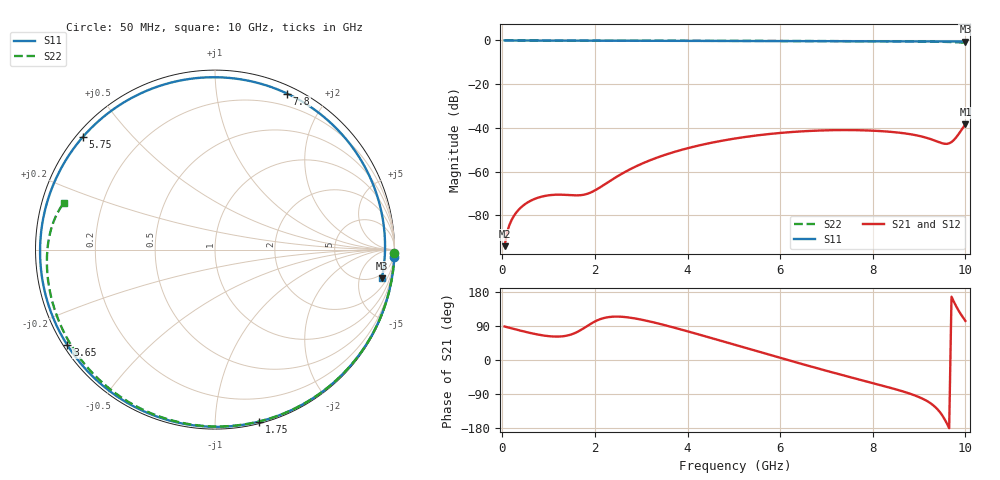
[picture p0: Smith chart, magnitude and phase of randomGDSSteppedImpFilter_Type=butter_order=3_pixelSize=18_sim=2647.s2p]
! freq	dB(S11)	phase(S11)	dB(S12)	phase(S12)
!  dB(S21)	phase(S21)	dB(S22)	phase(S22)
!S-par simulation data
#  GHz  S  DB  R 50
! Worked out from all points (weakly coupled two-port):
!   200 points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, 50 MHz to 10 GHz, reference 50 ohm
!   highest |S21| = -38.33 dB at 10 GHz (marker M1); lowest = -94.1 dB at 50 MHz (marker M2)
!   lowest |S11| = -0.5 dB at 10 GHz (marker M3), VSWR 34.45, Z = 180 - j524 ohm
!   |S11| at or under -10 dB: nowhere
!   |S22| runs from -1.1 to 0.0 dB; largest |S21 - S12| = 0
!   S11 on the Smith chart (normalised r, x): 50 MHz: 0, -51; 1.75 GHz: 0.01, -1.29; 3.65 GHz: 0.01, -0.30; 5.75 GHz: 0.02, +0.37; 7.8 GHz: 0.07, +1.56; 10 GHz: 4, -10
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0.05  -0.00 -2.3  -94.15 88.4  -94.15 88.4  -0.00 -1.1
0.25  -0.02 -11.2  -80.32 81.9  -80.32 81.9  -0.01 -5.4
0.5  -0.03 -22.3  -74.78 74.3  -74.78 74.3  -0.01 -10.7
0.85  -0.05 -37.7  -71.48 65.4  -71.48 65.4  -0.02 -18.1
1.3  -0.07 -57.0  -70.60 62.5  -70.60 62.5  -0.03 -27.6
1.75  -0.09 -75.7  -70.64 83.2  -70.64 83.2  -0.05 -36.9
2  -0.11 -85.7  -68.63 101.7  -68.63 101.7  -0.05 -42.1
2.5  -0.13 -105.1  -62.01 114.5  -62.01 114.5  -0.07 -52.2
3.4  -0.16 -138.2  -53.17 95.3  -53.17 95.3  -0.09 -69.8
3.65  -0.18 -147.1  -51.43 87.4  -51.43 87.4  -0.10 -74.5
4.35  -0.21 -171.6  -47.56 63.7  -47.56 63.7  -0.12 -87.6
5.05  -0.25 164.1  -44.79 39.2  -44.79 39.2  -0.15 -100.2
5.75  -0.29 139.5  -42.85 14.5  -42.85 14.5  -0.19 -112.5
6.25  -0.31 121.7  -41.90 -3.0  -41.90 -3.0  -0.22 -121.2
6.7  -0.33 105.4  -41.34 -18.4  -41.34 -18.4  -0.25 -129.0
7.25  -0.36 85.3  -41.03 -36.8  -41.03 -36.8  -0.29 -138.4
7.8  -0.38 65.2  -41.13 -54.6  -41.13 -54.6  -0.34 -148.0
8.35  -0.39 45.3  -41.75 -72.4  -41.75 -72.4  -0.40 -157.9
9  -0.42 22.6  -43.67 -98.0  -43.67 -98.0  -0.49 -170.4
9.6  -0.46 2.7  -47.33 -167.4  -47.33 -167.4  -0.66 175.9
9.75  -0.48 -2.1  -45.57 154.0  -45.57 154.0  -0.75 171.7
10  -0.50 -9.8  -38.33 103.2  -38.33 103.2  -1.11 162.7
